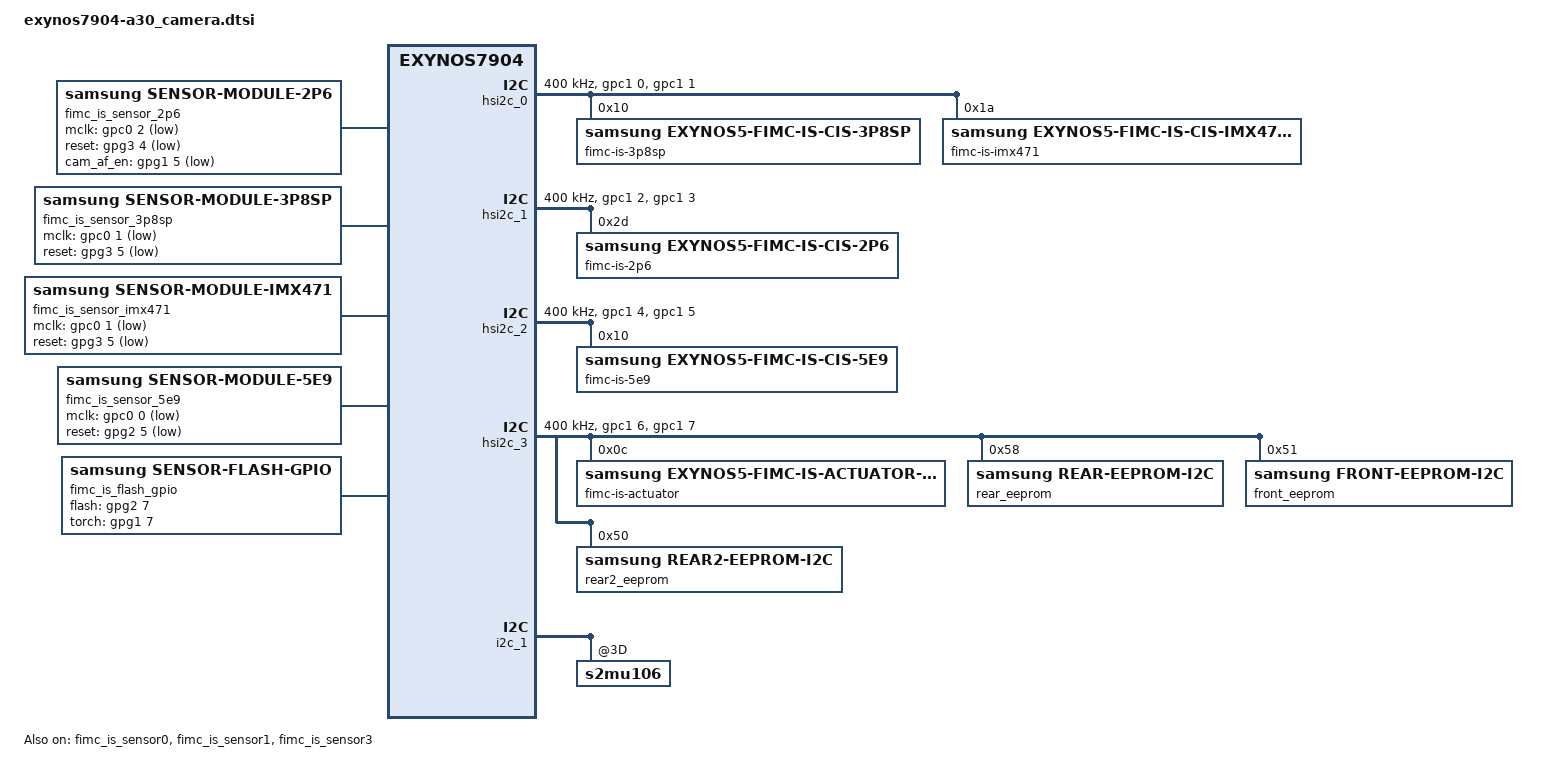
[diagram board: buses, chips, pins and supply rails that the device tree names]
/*
 * SAMSUNG EXYNOS7885 board camera device tree source
 *
 * Copyright (c) 2018 Samsung Electronics Co., Ltd.
 *		http://www.samsung.com
 *
 * This program is free software; you can redistribute it and/or modify
 * it under the terms of the GNU General Public License version 2 as
 * published by the Free Software Foundation.
 */

#include <dt-bindings/camera/fimc_is.h>

/ {
	fragment@camera {
		target-path = "/";
		__overlay__ {

			/* REAR CAMERA */
			fimc_is_sensor_2p6: fimc-is_sensor_2p6@5A {
				compatible = "samsung,sensor-module-2p6";

				pinctrl-names = "pin0", "pin1", "pin2", "release";
				pinctrl-0 = <>;
				pinctrl-1 = <&fimc_is_mclk2_out>;
				pinctrl-2 = <&fimc_is_mclk2_fn>;
				pinctrl-3 = <>;

				use_pdaf; /* when USE_AP_PDAF is enabled, use for pdaf sensor */

				position = <0>;                   /* Rear:0. Front:1 */
				id = <0>;                         /* fimc_is_sensor id */
				mclk_ch = <2>;
				sensor_i2c_ch = <1>;
				sensor_i2c_addr = <0x5A>;

				gpio_mclk = <&gpc0 2 0x1>;        /* RCAM1_MCLK : XCI2_MCLK */
				gpio_reset = <&gpg3 4 0x1>;       /* RCAM1_RST_N : XGPIO24 */
				gpio_cam_af_en = <&gpg1 5 0x1>;    /* RCAM1_AFVDD_LDO_EN */
				status = "okay";

				af {
					product_name = <20>;         /* ACTUATOR_NAME_ZC535 */
					i2c_addr = <0x18>;
					i2c_ch = <3>;
				};

				flash {
					product_name = <11>;         /* FLADRV_NAME_DRV_FLASH_GPIO */
				};

				internal_vc {
					/* vc_list = <channel, data_type, buffer_offset>
					 * channel : Output VC channel
					 *  - Supported channels are 1(VC1), 2(VC2), 3(VC3)
					 *  - Since channel 0(VC0) is dedicated to image data, it can not be used

					 * data_type : Output type of VC channel
					 *  - Value 0 VC_NOTHING
					 *  - Value 1 VC_TAIL_MODE_PDAF
					 *  - Value 2 VC_MIPI_STAT
					 * buffer_offset : get_vc_dma_buf offset value of buffer to return when using interface

					 *  - Value 0 N buffer return
					 *  - Value 1 N-1 buffer return
					 */

					vc_list = <1 1 1>;
				};
			};

			/* FRONT CAMERA */
			fimc_is_sensor_3p8sp: fimc-is_sensor_3p8sp@20 {
				compatible = "samsung,sensor-module-3p8sp";

				pinctrl-names = "pin0", "pin1", "pin2", "release";
				pinctrl-0 = <>;
				pinctrl-1 = <&fimc_is_mclk1_out>;
				pinctrl-2 = <&fimc_is_mclk1_fn>;
				pinctrl-3 = <>;

				position = <1>;                 /* Rear:0. Front:1 */
				id = <1>;                       /* fimc_is_sensor id */
				mclk_ch = <1>;
				sensor_i2c_ch = <0>;
				sensor_i2c_addr = <0x20>;

				gpio_mclk = <&gpc0 1 0x1>;      /* FCAM_MCLK : XCI1_MCLK */
				gpio_reset = <&gpg3 5 0x1>;     /* FCAM_RST_N: XGPIO25 */
				status = "okay";
			};

			/* FRONT CAMERA2 */
			fimc_is_sensor_imx471: fimc-is_sensor_imx471@1A {
				compatible = "samsung,sensor-module-imx471";

				pinctrl-names = "pin0", "pin1", "pin2", "release";
				pinctrl-0 = <>;
				pinctrl-1 = <&fimc_is_mclk1_out>;
				pinctrl-2 = <&fimc_is_mclk1_fn>;
				pinctrl-3 = <>;

				position = <1>;                 /* Rear:0. Front:1 */
				id = <1>;                       /* fimc_is_sensor id */
				mclk_ch = <1>;
				sensor_i2c_ch = <0>;
				sensor_i2c_addr = <0x34>;

				gpio_mclk = <&gpc0 1 0x1>;      /* FCAM_MCLK : XCI1_MCLK */
				gpio_reset = <&gpg3 5 0x1>;     /* FCAM_RST_N: XGPIO25 */
				status = "okay";
			};

			/* REAR CAMERA2 : UW */
			fimc_is_sensor_5e9: fimc-is_sensor_5e9@20 {
				compatible = "samsung,sensor-module-5e9";

				pinctrl-names = "pin0", "pin1", "pin2", "release";
				pinctrl-0 = <>;
				pinctrl-1 = <&fimc_is_mclk0_out>;
				pinctrl-2 = <&fimc_is_mclk0_fn>;
				pinctrl-3 = <>;

				position = <2>;                 /* Rear2: 2 */
				id = <2>;                       /* fimc_is_sensor id */
				mclk_ch = <0>;
				sensor_i2c_ch = <2>;
				sensor_i2c_addr = <0x20>;

				gpio_mclk = <&gpc0 0 0x1>;      /* FCAM_MCLK : XCI0_MCLK */
				gpio_reset = <&gpg2 5 0x1>;     /* FCAM_RST_N: XGPIO17 */
				status = "okay";
			};

			fimc_is_flash_gpio: fimc-is-flash_gpio@0 {
				compatible = "samsung,sensor-flash-gpio";
				id = <0>;
				status = "okay";

				flash-gpio = <&gpg2 7 0>;
				torch-gpio = <&gpg1 7 0>;
			};

		}; /* end of __overlay__ */
	}; /* end of fragment */
}; /* end of root */


/***** reference symbol node *****/
&fimc_is {
	pinctrl-names = "default","release";
	pinctrl-0 = <&fimc_is_mclk0_out &fimc_is_mclk1_out &fimc_is_mclk2_out>;
	pinctrl-1 = <>;

	vender {
		rear_sensor_id = <58>;    /* S5K2P6 */
		front_sensor_id = <44>;   /* S5K3P8SP */
		rear2_sensor_id = <41>;   /* S5K5E9 */
		use_module_check;
		//skip_cal_loading;

		max_supported_camera = <3>;
		supported_cameraId = <0 1 50>;

		max_camera_num = <3>;
		camera_info0 {              /* 0 : rear - S5K2P6 */
			isp = <0>;             /* 0 : INT , 1 : EXT , 2 : SOC */
			cal_memory = <2>;      /* 0 : N , 1 : FROM , 2 : EEPROM , 3 : OTP  */
			read_version = <0>;    /* 0 : SYSFS , 1 : CAMON */
			core_voltage = <0>;    /* 0 : N , 1 : Y  */
			upgrade = <0>;         /* 0 : N , 1 : SYSFS , 2 : CAMON */
			companion = <0>;       /* 0 : N , 1 : Y  */
			ois = <0>;             /* 0 : N , 1 : Y  */
			valid = <1>;           /* 0 : INVALID, 1 : VALID */
			dual_open = <0>;       /* 0 : SINGLE_OPEN , 1 : DUAL_OPEN */
			position = <0>;        /* 0 : Rear, 1:Front, 2:Rear2, 3:Front2, 4:Rear3 */
		};
		camera_info1 {              /* 1 : front1 - S5K3P8SP */
			isp = <0>;             /* 0 : INT , 1 : EXT , 2 : SOC */
			cal_memory = <2>;      /* 0 : N , 1 : FROM , 2 : EEPROM , 3 : OTP  */
			read_version = <0>;    /* 0 : SYSFS , 1 : CAMON */
			core_voltage = <0>;    /* 0 : N , 1 : Y  */
			upgrade = <0>;         /* 0 : N , 1 : SYSFS , 2 : CAMON */
			companion = <0>;       /* 0 : N , 1 : Y  */
			ois = <0>;             /* 0 : N , 1 : Y  */
			valid = <1>;           /* 0 : INVALID, 1 : VALID */
			dual_open = <0>;       /* 0 : SINGLE_OPEN , 1 : DUAL_OPEN */
			position = <1>;        /* 0 : Rear, 1:Front, 2:Rear2, 3:Front2, 4:Rear3 */
		};
		camera_info2 {              /* 2 : rear2 - S5K5E9 */
			isp = <0>;             /* 0 : INT , 1 : EXT , 2 : SOC */
			cal_memory = <2>;      /* 0 : N , 1 : FROM , 2 : EEPROM , 3 : OTP  */
			read_version = <0>;    /* 0 : SYSFS , 1 : CAMON */
			core_voltage = <0>;    /* 0 : N , 1 : Y  */
			upgrade = <0>;         /* 0 : N , 1 : SYSFS , 2 : CAMON */
			companion = <0>;       /* 0 : N , 1 : Y  */
			ois = <0>;             /* 0 : N , 1 : Y  */
			valid = <1>;           /* 0 : INVALID, 1 : VALID */
			dual_open = <0>;       /* 0 : SINGLE_OPEN , 1 : DUAL_OPEN */
			position = <2>;        /* 0 : Rear, 1:Front, 2:Rear2, 3:Front2, 4:Rear3 */
		};
	};

	fimc_is_dvfs {
		/* TODO: DVFS level set */
		#define DVFS_INT_L0 533000
		#define DVFS_INT_L1 333000
		#define DVFS_INT_L2 267000
		#define DVFS_INT_L3 133000
		#define DVFS_INT_L4 107000

		#define DVFS_CAM_L0 690000
		#define DVFS_CAM_L1 680000
		#define DVFS_CAM_L2 670000
		#define DVFS_CAM_L3 660000
		#define DVFS_CAM_L4 650000

		#define DVFS_MIF_L0 2093000
		#define DVFS_MIF_L1 2002000
		#define DVFS_MIF_L2 1794000
		#define DVFS_MIF_L3 1539000
		#define DVFS_MIF_L4 1352000
		#define DVFS_MIF_L5 1014000
		#define DVFS_MIF_L6 845000
		#define DVFS_MIF_L7 676000
		#define DVFS_MIF_L8 546000
		#define DVFS_MIF_L9 420000

		table0 {
			desc = "default";

			default_int = <DVFS_INT_L4>;
			default_cam = <DVFS_CAM_L0>;
			default_mif = <DVFS_MIF_L0>;
			default_i2c = <0>;
			default_hpg = <1>;

			front_preview_int = <DVFS_INT_L4>;
			front_preview_cam = <DVFS_CAM_L2>;
			front_preview_mif = <DVFS_MIF_L4>;
			front_preview_i2c = <0>;
			front_preview_hpg = <1>;

			front_capture_int = <DVFS_INT_L4>;
			front_capture_cam = <DVFS_CAM_L1>;
			front_capture_mif = <DVFS_MIF_L4>;
			front_capture_i2c = <0>;
			front_capture_hpg = <1>;

			front_video_int = <DVFS_INT_L4>;
			front_video_cam = <DVFS_CAM_L2>;
			front_video_mif = <DVFS_MIF_L4>;
			front_video_i2c = <0>;
			front_video_hpg = <1>;

			front_vt1_int = <DVFS_INT_L4>;
			front_vt1_cam = <DVFS_CAM_L2>;
			front_vt1_mif = <DVFS_MIF_L5>;
			front_vt1_i2c = <0>;
			front_vt1_hpg = <1>;

			front_vt2_int = <DVFS_INT_L4>;
			front_vt2_cam = <DVFS_CAM_L2>;
			front_vt2_mif = <DVFS_MIF_L5>;
			front_vt2_i2c = <0>;
			front_vt2_hpg = <1>;

			front_vt4_int = <DVFS_INT_L4>;
			front_vt4_cam = <DVFS_CAM_L2>;
			front_vt4_mif = <DVFS_MIF_L5>;
			front_vt4_i2c = <0>;
			front_vt4_hpg = <1>;

			rear2_preview_fhd_int = <DVFS_INT_L4>;
			rear2_preview_fhd_cam = <DVFS_CAM_L3>;
			rear2_preview_fhd_mif = <DVFS_MIF_L4>;
			rear2_preview_fhd_i2c = <0>;
			rear2_preview_fhd_hpg = <1>;

			rear2_capture_int = <DVFS_INT_L4>;
			rear2_capture_cam = <DVFS_CAM_L3>;
			rear2_capture_mif = <DVFS_MIF_L3>;
			rear2_capture_i2c = <0>;
			rear2_capture_hpg = <1>;

			rear2_video_fhd_int = <DVFS_INT_L4>;
			rear2_video_fhd_cam = <DVFS_CAM_L3>;
			rear2_video_fhd_mif = <DVFS_MIF_L3>;
			rear2_video_fhd_i2c = <0>;
			rear2_video_fhd_hpg = <1>;

			rear2_video_fhd_capture_int = <DVFS_INT_L4>;
			rear2_video_fhd_capture_cam = <DVFS_CAM_L3>;
			rear2_video_fhd_capture_mif = <DVFS_MIF_L3>;
			rear2_video_fhd_capture_i2c = <0>;
			rear2_video_fhd_capture_hpg = <1>;

			rear_preview_fhd_int = <DVFS_INT_L4>;
			rear_preview_fhd_cam = <DVFS_CAM_L2>;
			rear_preview_fhd_mif = <DVFS_MIF_L4>;
			rear_preview_fhd_i2c = <0>;
			rear_preview_fhd_hpg = <1>;

			rear_capture_int = <DVFS_INT_L4>;
			rear_capture_cam = <DVFS_CAM_L1>;
			rear_capture_mif = <DVFS_MIF_L3>;
			rear_capture_i2c = <0>;
			rear_capture_hpg = <1>;

			rear_video_fhd_int = <DVFS_INT_L4>;
			rear_video_fhd_cam = <DVFS_CAM_L1>;
			rear_video_fhd_mif = <DVFS_MIF_L3>;
			rear_video_fhd_i2c = <0>;
			rear_video_fhd_hpg = <1>;

			rear_video_uhd_int = <DVFS_INT_L4>;
			rear_video_uhd_cam = <DVFS_CAM_L2>;
			rear_video_uhd_mif = <DVFS_MIF_L3>;
			rear_video_uhd_i2c = <0>;
			rear_video_uhd_hpg = <1>;

			rear_video_fhd_capture_int = <DVFS_INT_L4>;
			rear_video_fhd_capture_cam = <DVFS_CAM_L1>;
			rear_video_fhd_capture_mif = <DVFS_MIF_L3>;
			rear_video_fhd_capture_i2c = <0>;
			rear_video_fhd_capture_hpg = <1>;

			rear_video_uhd_capture_int = <DVFS_INT_L4>;
			rear_video_uhd_capture_cam = <DVFS_CAM_L1>;
			rear_video_uhd_capture_mif = <DVFS_MIF_L2>;
			rear_video_uhd_capture_i2c = <0>;
			rear_video_uhd_capture_hpg = <1>;

			dual_preview_int = <DVFS_INT_L4>;
			dual_preview_cam = <DVFS_CAM_L2>;
			dual_preview_mif = <DVFS_MIF_L3>;
			dual_preview_i2c = <0>;
			dual_preview_hpg = <1>;

			dual_capture_int = <DVFS_INT_L4>;
			dual_capture_cam = <DVFS_CAM_L1>;
			dual_capture_mif = <DVFS_MIF_L2>;
			dual_capture_i2c = <0>;
			dual_capture_hpg = <1>;

			dual_video_int = <DVFS_INT_L4>;
			dual_video_cam = <DVFS_CAM_L2>;
			dual_video_mif = <DVFS_MIF_L2>;
			dual_video_i2c = <0>;
			dual_video_hpg = <1>;

			preview_high_speed_fps_int = <DVFS_INT_L4>;
			preview_high_speed_fps_cam = <DVFS_CAM_L2>;
			preview_high_speed_fps_mif = <DVFS_MIF_L4>;
			preview_high_speed_fps_i2c = <0>;
			preview_high_speed_fps_hpg = <1>;

			video_high_speed_60fps_int = <DVFS_INT_L4>;
			video_high_speed_60fps_cam = <DVFS_CAM_L2>;
			video_high_speed_60fps_mif = <DVFS_MIF_L4>;
			video_high_speed_60fps_i2c = <0>;
			video_high_speed_60fps_hpg = <1>;

			video_high_speed_120fps_int = <DVFS_INT_L4>;
			video_high_speed_120fps_cam = <DVFS_CAM_L2>;
			video_high_speed_120fps_mif = <DVFS_MIF_L4>;
			video_high_speed_120fps_i2c = <0>;
			video_high_speed_120fps_hpg = <6>;

			max_int = <DVFS_INT_L4>;
			max_cam = <DVFS_CAM_L0>;
			max_mif = <DVFS_MIF_L0>;
			max_i2c = <0>;
			max_hpg = <1>;
		};

		table1 {
			desc = "DVFS table for HAL3";

			default_int = <DVFS_INT_L4>;
			default_cam = <DVFS_CAM_L0>;
			default_mif = <DVFS_MIF_L0>;
			default_i2c = <0>;
			default_hpg = <1>;

			front_preview_int = <DVFS_INT_L4>;
			front_preview_cam = <DVFS_CAM_L2>;
			front_preview_mif = <DVFS_MIF_L4>;
			front_preview_i2c = <0>;
			front_preview_hpg = <1>;

			front_capture_int = <DVFS_INT_L4>;
			front_capture_cam = <DVFS_CAM_L1>;
			front_capture_mif = <DVFS_MIF_L4>;
			front_capture_i2c = <0>;
			front_capture_hpg = <1>;

			front_video_int = <DVFS_INT_L4>;
			front_video_cam = <DVFS_CAM_L2>;
			front_video_mif = <DVFS_MIF_L4>;
			front_video_i2c = <0>;
			front_video_hpg = <1>;

			front_vt1_int = <DVFS_INT_L4>;
			front_vt1_cam = <DVFS_CAM_L2>;
			front_vt1_mif = <DVFS_MIF_L5>;
			front_vt1_i2c = <0>;
			front_vt1_hpg = <1>;

			front_vt2_int = <DVFS_INT_L4>;
			front_vt2_cam = <DVFS_CAM_L2>;
			front_vt2_mif = <DVFS_MIF_L5>;
			front_vt2_i2c = <0>;
			front_vt2_hpg = <1>;

			front_vt4_int = <DVFS_INT_L4>;
			front_vt4_cam = <DVFS_CAM_L2>;
			front_vt4_mif = <DVFS_MIF_L5>;
			front_vt4_i2c = <0>;
			front_vt4_hpg = <1>;

			rear2_preview_fhd_int = <DVFS_INT_L4>;
			rear2_preview_fhd_cam = <DVFS_CAM_L3>;
			rear2_preview_fhd_mif = <DVFS_MIF_L4>;
			rear2_preview_fhd_i2c = <0>;
			rear2_preview_fhd_hpg = <1>;

			rear2_capture_int = <DVFS_INT_L4>;
			rear2_capture_cam = <DVFS_CAM_L3>;
			rear2_capture_mif = <DVFS_MIF_L3>;
			rear2_capture_i2c = <0>;
			rear2_capture_hpg = <1>;

			rear2_video_fhd_int = <DVFS_INT_L4>;
			rear2_video_fhd_cam = <DVFS_CAM_L3>;
			rear2_video_fhd_mif = <DVFS_MIF_L3>;
			rear2_video_fhd_i2c = <0>;
			rear2_video_fhd_hpg = <1>;

			rear2_video_fhd_capture_int = <DVFS_INT_L4>;
			rear2_video_fhd_capture_cam = <DVFS_CAM_L3>;
			rear2_video_fhd_capture_mif = <DVFS_MIF_L3>;
			rear2_video_fhd_capture_i2c = <0>;
			rear2_video_fhd_capture_hpg = <1>;

			rear_preview_fhd_int = <DVFS_INT_L4>;
			rear_preview_fhd_cam = <DVFS_CAM_L2>;
			rear_preview_fhd_mif = <DVFS_MIF_L4>;
			rear_preview_fhd_i2c = <0>;
			rear_preview_fhd_hpg = <1>;

			rear_capture_int = <DVFS_INT_L4>;
			rear_capture_cam = <DVFS_CAM_L0>;
			rear_capture_mif = <DVFS_MIF_L2>;
			rear_capture_i2c = <0>;
			rear_capture_hpg = <1>;

			rear_video_fhd_int = <DVFS_INT_L4>;
			rear_video_fhd_cam = <DVFS_CAM_L2>;
			rear_video_fhd_mif = <DVFS_MIF_L3>;
			rear_video_fhd_i2c = <0>;
			rear_video_fhd_hpg = <1>;

			rear_video_uhd_int = <DVFS_INT_L4>;
			rear_video_uhd_cam = <DVFS_CAM_L2>;
			rear_video_uhd_mif = <DVFS_MIF_L3>;
			rear_video_uhd_i2c = <0>;
			rear_video_uhd_hpg = <1>;

			rear_video_fhd_capture_int = <DVFS_INT_L4>;
			rear_video_fhd_capture_cam = <DVFS_CAM_L1>;
			rear_video_fhd_capture_mif = <DVFS_MIF_L3>;
			rear_video_fhd_capture_i2c = <0>;
			rear_video_fhd_capture_hpg = <1>;

			rear_video_uhd_capture_int = <DVFS_INT_L4>;
			rear_video_uhd_capture_cam = <DVFS_CAM_L1>;
			rear_video_uhd_capture_mif = <DVFS_MIF_L2>;
			rear_video_uhd_capture_i2c = <0>;
			rear_video_uhd_capture_hpg = <1>;

			dual_preview_int = <DVFS_INT_L4>;
			dual_preview_cam = <DVFS_CAM_L2>;
			dual_preview_mif = <DVFS_MIF_L3>;
			dual_preview_i2c = <0>;
			dual_preview_hpg = <1>;

			dual_capture_int = <DVFS_INT_L4>;
			dual_capture_cam = <DVFS_CAM_L1>;
			dual_capture_mif = <DVFS_MIF_L2>;
			dual_capture_i2c = <0>;
			dual_capture_hpg = <1>;

			dual_video_int = <DVFS_INT_L4>;
			dual_video_cam = <DVFS_CAM_L2>;
			dual_video_mif = <DVFS_MIF_L2>;
			dual_video_i2c = <0>;
			dual_video_hpg = <1>;

			preview_high_speed_fps_int = <DVFS_INT_L4>;
			preview_high_speed_fps_cam = <DVFS_CAM_L2>;
			preview_high_speed_fps_mif = <DVFS_MIF_L4>;
			preview_high_speed_fps_i2c = <0>;
			preview_high_speed_fps_hpg = <1>;

			video_high_speed_60fps_int = <DVFS_INT_L4>;
			video_high_speed_60fps_cam = <DVFS_CAM_L2>;
			video_high_speed_60fps_mif = <DVFS_MIF_L4>;
			video_high_speed_60fps_i2c = <0>;
			video_high_speed_60fps_hpg = <1>;

			video_high_speed_120fps_int = <DVFS_INT_L4>;
			video_high_speed_120fps_cam = <DVFS_CAM_L2>;
			video_high_speed_120fps_mif = <DVFS_MIF_L4>;
			video_high_speed_120fps_i2c = <0>;
			video_high_speed_120fps_hpg = <6>;

			max_int = <DVFS_INT_L4>;
			max_cam = <DVFS_CAM_L0>;
			max_mif = <DVFS_MIF_L0>;
			max_i2c = <0>;
			max_hpg = <1>;
		};
	};
};

/* fimc_is_sensor0 - XMIPI_CSI4LA */
&fimc_is_sensor0 {
	scenario = <SENSOR_SCENARIO_NORMAL>;	/* Normal, Vision, OIS etc */
	id = <0>;
	csi_ch = <1>;
	flite_ch = <FLITE_ID_NOTHING>;
	is_bns = <0>;
	is_flite = <0>;
	status = "okay";

	use_ssvc1_internal;
};

/* fimc_is_sensor1 - XMIPI_CSI4LB */
&fimc_is_sensor1 {
	scenario = <SENSOR_SCENARIO_NORMAL>;	/* Normal, Vision, OIS etc */
	id = <1>;
	csi_ch = <0>;
	flite_ch = <FLITE_ID_NOTHING>;
	is_bns = <0>;
	is_flite = <0>;
	status = "okay";
};

/* fimc_is_sensor2 - XMIPI_CSI4LC */
&fimc_is_sensor2 {
	scenario = <SENSOR_SCENARIO_NORMAL>;	/* Normal, Vision, OIS etc */
	id = <3>;
	csi_ch = <2>;
	flite_ch = <FLITE_ID_NOTHING>;
	is_bns = <0>;
	is_flite = <0>;
	status = "disabled";
};

/* fimc_is_sensor3 - XMIPI_CSI2L */
&fimc_is_sensor3 {
		scenario = <SENSOR_SCENARIO_NORMAL>;	/* Normal, Vision, OIS etc */
		id = <2>;
		csi_ch = <3>;
		flite_ch = <FLITE_ID_NOTHING>;
		is_bns = <0>;
		is_flite = <0>;
		status = "okay";
	};

/* hsi2c_0: hsi2c@138A0000 */
&hsi2c_0 {
	#address-cells = <1>;
	#size-cells = <0>;
	gpios = <&gpc1 0 0 &gpc1 1 0>;	/* SDA - SCL */
	status = "okay";
	clock-frequency = <400000>;

	samsung,scl-extended-low-period;
	samsung,reset-before-trans;

	pinctrl-names = "on_i2c";
	pinctrl-0 = <&hs_i2c0_bus>;

	fimc-is-3p8sp@20 {
		compatible = "samsung,exynos5-fimc-is-cis-3p8sp";
		reg = <0x10>;              /* 1 bit right shift */
		id = <1>;                  /* matching fimc_is_sensor id */
		sensor_f_number = <200>;   /* f number 2.0 */
		setfile = "setB";
		use_initial_ae;            /* for initial AE of face unlock */
	};

	fimc-is-imx471@1A {
		compatible = "samsung,exynos5-fimc-is-cis-imx471-front";
		reg = <0x1A>;              /* 1 bit right shift */
		id = <1>;                  /* matching fimc_is_sensor id */
		sensor_f_number = <200>;   /* f number 2.0 */
		setfile = "setB";
	};
};

/* hsi2c_1: hsi2c@138B0000 */
&hsi2c_1 {
	#address-cells = <1>;
	#size-cells = <0>;
	gpios = <&gpc1 2 0 &gpc1 3 0>;	/* SDA - SCL */
	status = "okay";
	clock-frequency = <400000>;

	samsung,scl-extended-low-period;
	samsung,reset-before-trans;

	pinctrl-names = "on_i2c";
	pinctrl-0 = <&hs_i2c1_bus>;

	fimc-is-2p6@5A {
		compatible = "samsung,exynos5-fimc-is-cis-2p6";
		reg = <0x2d>;              /* 1 bit right shift */
		id = <0>;                  /* matching fimc_is_sensor id */
		sensor_f_number = <170>;   /* f number 1.7 */
		use_pdaf;
		setfile = "setB";
	};
};

/* hsi2c_2: hsi2c@138C0000 */
&hsi2c_2 {
	#address-cells = <1>;
	#size-cells = <0>;
	gpios = <&gpc1 4 0 &gpc1 5 0>;
	status = "okay";
	clock-frequency = <400000>;

	samsung,scl-extended-low-period;
	samsung,reset-before-trans;

	pinctrl-names = "on_i2c";
	pinctrl-0 = <&hs_i2c2_bus>;

	fimc-is-5e9@20 {
		compatible = "samsung,exynos5-fimc-is-cis-5e9";
		reg = <0x10>;              /* 1 bit right shift */
		id = <2>;                  /* matching fimc_is_sensor id */
		sensor_f_number = <220>;   /* f number 2.2 */
		setfile = "setB";
	};
};

/* hsi2c_3: hsi2c@138D0000 */
&hsi2c_3 {
	#address-cells = <1>;
	#size-cells = <0>;
	gpios = <&gpc1 6 0 &gpc1 7 0>;	/* SDA - SCL */
	status = "okay";
	clock-frequency = <400000>;

	samsung,scl-extended-low-period;
	samsung,reset-before-trans;

	pinctrl-names = "on_i2c";
	pinctrl-0 = <&hs_i2c3_bus>;

	fimc-is-actuator@18 {
		compatible = "samsung,exynos5-fimc-is-actuator-zc535";
		reg = <0x0C>;
		id = <0>;
		place = <0>;
	};

	rear_eeprom@B0 {
		compatible = "samsung,rear-eeprom-i2c";
		reg = <0x58>;		/* 7bit-addr */
	};

	front_eeprom@A2 {
		compatible = "samsung,front-eeprom-i2c";
		reg = <0x51>;		/* 7bit-addr */
	};

	rear2_eeprom@A0 {
		compatible = "samsung,rear2-eeprom-i2c";
		reg = <0x50>;		/* 7bit-addr */
	};
};

&i2c_1 {
	s2mu106@3D {
		flash_led {
			status = "okay";

			default_current = <50>;
			max_current = <200>;
			default_timer = <0>;
			flash-gpio = <&gpg2 7 0>;
			torch-gpio = <&gpg1 7 0>;

			flash_current = <1500>;
			preflash_current = <200>;
			movie_current = <200>;
			torch_current = <90>;
			factory_current = <350>;
			//front_torch_current = <300>;
			flashlight_current = <50 75 125 175 250>;

			s2mu106-channel1 {
				id = <0>;
				/*
				current = <100>;
				timer = <200>;
				*/
			};
		};
	};
};

